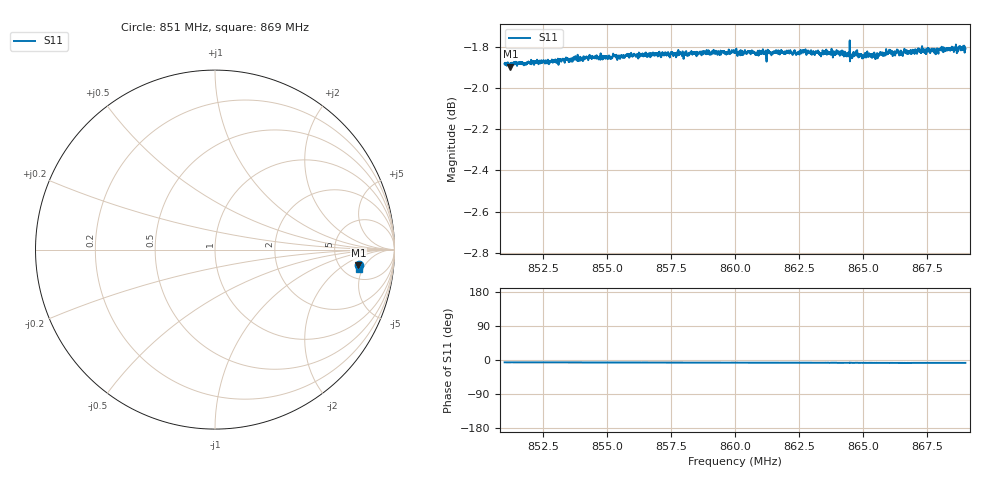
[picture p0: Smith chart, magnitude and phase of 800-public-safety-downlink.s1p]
! Calibrated averaged scanner-service zoom
# Hz S RI R 50
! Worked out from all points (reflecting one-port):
!   2001 points, 851 MHz to 869 MHz, reference 50 ohm
!   lowest |S11| = -1.9 dB at 851.23 MHz (marker M1), VSWR 9.20, Z = 369 - j182 ohm
!   phase of S11 starts at -6 deg and turns -1 deg over the sweep
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8.51e8  0.8006 -0.0868
8.51225e8  0.7991 -0.0871
8.5325e8  0.8022 -0.0899
8.53736e8  0.803 -0.0911
8.53916e8  0.8025 -0.0906
8.54393e8  0.8022 -0.0927
8.555e8  0.8033 -0.0933
8.5775e8  0.8042 -0.0963
8.57921e8  0.804 -0.0966
8.58245e8  0.8044 -0.0976
8.58803e8  0.8046 -0.098
8.6e8  0.805 -0.0996
8.60855e8  0.8036 -0.1016
8.6225e8  0.8027 -0.102
8.64113e8  0.8041 -0.1043
8.645e8  0.8012 -0.1047
8.64698e8  0.803 -0.1042
8.6504e8  0.802 -0.1053
8.65229e8  0.8023 -0.1054
8.65544e8  0.8022 -0.1063
8.65985e8  0.8029 -0.1075
8.66129e8  0.804 -0.1067
8.66309e8  0.8032 -0.1076
8.6648e8  0.8038 -0.1091
8.66633e8  0.804 -0.1074
8.6675e8  0.8031 -0.1088
8.67434e8  0.8033 -0.1071
8.69e8  0.8048 -0.1084
